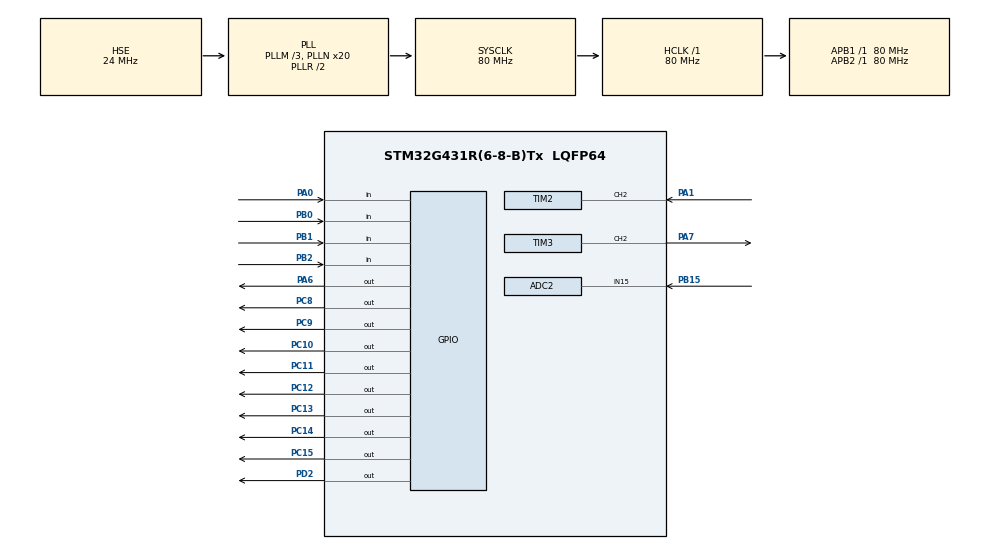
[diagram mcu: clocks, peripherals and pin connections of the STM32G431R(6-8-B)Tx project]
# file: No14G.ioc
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ADC2.Channel-1\#ChannelRegularConversion=ADC_CHANNEL_15
ADC2.NbrOfConversionFlag=1
ADC2.OffsetNumber-1\#ChannelRegularConversion=ADC_OFFSET_NONE
ADC2.Rank-1\#ChannelRegularConversion=1
ADC2.SamplingTime-1\#ChannelRegularConversion=ADC_SAMPLETIME_640CYCLES_5
Mcu.Family=STM32G4
Mcu.Name=STM32G431R(6-8-B)Tx
Mcu.Package=LQFP64
NVIC.PriorityGroup=NVIC_PRIORITYGROUP_4
NVIC.TIM1_TRG_COM_TIM17_IRQn=true\:0\:0\:false\:false\:true\:true\:true\:true
NVIC.TIM2_IRQn=true\:0\:0\:false\:false\:true\:true\:true\:true
NVIC.TIM3_IRQn=true\:0\:0\:false\:false\:true\:true\:true\:true
PA0.GPIO_PuPd=GPIO_PULLUP
PA0.Signal=GPIO_Input
PA1.Signal=S_TIM2_CH2
PA13.Mode=Serial_Wire
PA13.Signal=SYS_JTMS-SWDIO
PA14.Mode=Serial_Wire
PA14.Signal=SYS_JTCK-SWCLK
PA6.Signal=GPIO_Output
PA7.Signal=S_TIM3_CH2
PB0.GPIO_PuPd=GPIO_PULLUP
PB0.Signal=GPIO_Input
PB1.GPIO_PuPd=GPIO_PULLUP
PB1.Signal=GPIO_Input
PB15.Mode=IN15-Single-Ended
PB15.Signal=ADC2_IN15
PB2.GPIO_PuPd=GPIO_PULLUP
PB2.Signal=GPIO_Input
PC10.PinState=GPIO_PIN_SET
PC10.Signal=GPIO_Output
PC11.PinState=GPIO_PIN_SET
PC11.Signal=GPIO_Output
PC12.PinState=GPIO_PIN_SET
PC12.Signal=GPIO_Output
PC13.PinState=GPIO_PIN_SET
PC13.Signal=GPIO_Output
PC14-OSC32_IN.PinState=GPIO_PIN_SET
PC14-OSC32_IN.Signal=GPIO_Output
PC15-OSC32_OUT.PinState=GPIO_PIN_SET
PC15-OSC32_OUT.Signal=GPIO_Output
PC8.PinState=GPIO_PIN_SET
PC8.Signal=GPIO_Output
PC9.PinState=GPIO_PIN_SET
PC9.Signal=GPIO_Output
PD2.Signal=GPIO_Output
PF0-OSC_IN.Mode=HSE-External-Oscillator
PF0-OSC_IN.Signal=RCC_OSC_IN
PF1-OSC_OUT.Mode=HSE-External-Oscillator
PF1-OSC_OUT.Signal=RCC_OSC_OUT
ProjectManager.HeapSize=0x200
ProjectManager.StackSize=0x400
ProjectManager.TargetToolchain=MDK-ARM V5.32
RCC.ADC12Freq_Value=80000000
RCC.AHBFreq_Value=80000000
RCC.APB1Freq_Value=80000000
RCC.APB1TimFreq_Value=80000000
RCC.APB2Freq_Value=80000000
RCC.APB2TimFreq_Value=80000000
RCC.CortexFreq_Value=80000000
RCC.EXTERNAL_CLOCK_VALUE=12288000
RCC.HCLKFreq_Value=80000000
RCC.HSE_VALUE=24000000
RCC.HSI48_VALUE=48000000
RCC.HSI_VALUE=16000000
RCC.LSE_VALUE=32768
RCC.PLLM=RCC_PLLM_DIV3
RCC.PLLN=20
RCC.PLLSourceVirtual=RCC_PLLSOURCE_HSE
RCC.SYSCLKFreq_VALUE=80000000
RCC.SYSCLKSource=RCC_SYSCLKSOURCE_PLLCLK
RCC.USBFreq_Value=80000000
RCC.VCOOutputFreq_Value=160000000
SH.S_TIM2_CH2.0=TIM2_CH2,Input_Capture2_from_TI2
SH.S_TIM3_CH2.0=TIM3_CH2,PWM Generation2 CH2
TIM17.PeriodNoDither=10000-1
TIM17.Prescaler=80-1
TIM2.Channel-Input_Capture1_from_TI2_63=TIM_CHANNEL_1
TIM2.Channel-Input_Capture2_from_TI2=TIM_CHANNEL_2
TIM2.ICPolarity_CH1=TIM_INPUTCHANNELPOLARITY_FALLING
TIM2.Prescaler=80-1
TIM3.Channel-PWM\ Generation2\ CH2=TIM_CHANNEL_2
TIM3.PeriodNoDither=100-1
TIM3.Prescaler=80-1
TIM3.PulseNoDither_2=50-1
VP_SYS_VS_DBSignals.Mode=DisableDeadBatterySignals
VP_TIM17_VS_ClockSourceINT.Mode=Enable_Timer
VP_TIM2_VS_ClockSourceINT.Mode=Internal
VP_TIM2_VS_indirect_ch2.Mode=Input_Capture1_from_TI2_63
VP_TIM3_VS_ClockSourceINT.Mode=Internal
board=custom

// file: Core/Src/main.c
/* USER CODE BEGIN Header */
/**
  ******************************************************************************
  * @file           : main.c
  * @brief          : Main program body
  ******************************************************************************
  * @attention
  *
  * Copyright (c) 2024 STMicroelectronics.
  * All rights reserved.
  *
  * This software is licensed under terms that can be found in the LICENSE file
  * in the root directory of this software component.
  * If no LICENSE file comes with this software, it is provided AS-IS.
  *
  ******************************************************************************
  */
/* USER CODE END Header */
#include "main.h"
#include "adc.h"
#include "tim.h"
#include "gpio.h"

/* USER CODE BEGIN Includes */
#include "mymain.h"

/* USER CODE END Includes */

void SystemClock_Config(void);

/* USER CODE BEGIN 0 */
char text[50];

uint8_t fh_l=0,fh_r,ah_l=0,ah_r,th_l=0,th_r;
uint8_t lcd_flag,key_lock=0,para_swit=0,fset_swit=0,mem_flag=0,reshowF_flag=0,reshowA_flag=0;
uint32_t F,D,FH=2000,TH=30,FN,AN,TN,FP=1,TT=6,FH_use=2000,TH_use=30,FP_use=1,TT_use=6;
float A,T,AH=3.0,VP=0.9,AH_use=3.0,VP_use=0.9;

uint32_t F_data[100],D_data[100];
float A_data[100];

void reset_sta(){
	fh_l=0,fh_r=0,ah_l=0,ah_r=0,th_l=0,th_r=0;
	lcd_flag=0,key_lock=0,para_swit=0,fset_swit=0,mem_flag=0,reshowF_flag=0,reshowA_flag=0;
	F=0,D=0,FH=2000,TH=30,FN=0,AN=0,TN=0,FP=1,TT=6,FH_use=2000,TH_use=30,FP_use=1,TT_use=6;
	A=0,T=0,AH=3.0,VP=0.9,AH_use=3.0,VP_use=0.9;
}

void data_get(){
	F=1000000/ic_tick;
	D=(float)ic_high/(float)ic_tick*100;
	A=adc_read();
	A=adc_read();
	A=adc_read();
	T=ds_read();
}
void lcd_sch(){
	if(lcd_flag==0){
		sprintf(text,"        DATA  ");
		LCD_DisplayStringLine(Line1, (unsigned char *)text);

		sprintf(text,"     F=%d    ",F);
		LCD_DisplayStringLine(Line3, (unsigned char *)text);

		sprintf(text,"     D=%d%%    ",D);
		LCD_DisplayStringLine(Line4, (unsigned char *)text);

		sprintf(text,"     A=%.1f    ",A);
		LCD_DisplayStringLine(Line5, (unsigned char *)text);

		sprintf(text,"     T=%.1f    ",T);
		LCD_DisplayStringLine(Line6, (unsigned char *)text);
	}

	if(lcd_flag==1){
		sprintf(text,"        PARA  ");
		LCD_DisplayStringLine(Line1, (unsigned char *)text);

		sprintf(text,"     FH=%d    ",FH);
		LCD_DisplayStringLine(Line3, (unsigned char *)text);

		sprintf(text,"     AH=%.1f    ",AH);
		LCD_DisplayStringLine(Line4, (unsigned char *)text);

		sprintf(text,"     TH=%d    ",TH);
		LCD_DisplayStringLine(Line5, (unsigned char *)text);
	}

	if(lcd_flag==2){
		sprintf(text,"        RECD  ");
		LCD_DisplayStringLine(Line1, (unsigned char *)text);

		sprintf(text,"     FN=%d    ",FN);
		LCD_DisplayStringLine(Line3, (unsigned char *)text);

		sprintf(text,"     AN=%d    ",AN);
		LCD_DisplayStringLine(Line4, (unsigned char *)text);

		sprintf(text,"     TN=%d    ",TN);
		LCD_DisplayStringLine(Line5, (unsigned char *)text);
	}

	if(lcd_flag==3){
		sprintf(text,"        FSET  ");
		LCD_DisplayStringLine(Line1, (unsigned char *)text);

		sprintf(text,"     FP=%d    ",FP);
		LCD_DisplayStringLine(Line3, (unsigned char *)text);

		sprintf(text,"     VP=%.1f    ",VP);
		LCD_DisplayStringLine(Line4, (unsigned char *)text);

		sprintf(text,"     TT=%d    ",TT);
		LCD_DisplayStringLine(Line5, (unsigned char *)text);
	}
}

void key_handle(){
	if(key_lock==1){
		key[1].flag=key[2].flag=key[3].flag=key[4].flag=0;
	}

	if(key[1].flag==1){
		if(lcd_flag==1){
			FH_use=FH;
			AH_use=AH;
			TH_use=TH;
		}

		if(lcd_flag==3){
			FP_use=FP;
			VP_use=VP;
			TT_use=TT;
		}

		lcd_flag=(lcd_flag+1)%4;
		LCD_Clear(Black);
		if(lcd_flag==1)para_swit=0;
		if(lcd_flag==3)fset_swit=0;

		key[1].flag=0;
	}

	if(key[2].flag==1){
		if(lcd_flag==0){
			//key_lock=1;
			mem_flag=1;
		}

		if(lcd_flag==1){
			para_swit=(para_swit+1)%3;
		}

		if(lcd_flag==2){
			FN=AN=TN=0;
		}

		if(lcd_flag==3){
			fset_swit=(fset_swit+1)%3;
		}

		key[2].flag=0;
	}

	if(key[3].flag==1){
		if(lcd_flag==0){
			reshowA_flag=1;
		}

		if(lcd_flag==1){
			if(para_swit==0)FH+=1000;
			if(para_swit==1)AH+=0.3;
			if(para_swit==2)TH+=1;
		}

		if(lcd_flag==3){
			if(fset_swit==0)FP+=1;
			if(fset_swit==1)VP+=0.3;
			if(fset_swit==2)TT+=2;
		}

		key[3].flag=0;
	}

	if(key[4].flag==1){
		if(lcd_flag==0){
			reshowF_flag=1;
		}

		if(lcd_flag==1){
			if(para_swit==0)FH-=1000;
			if(para_swit==1)AH-=0.3;
			if(para_swit==2)TH-=1;
		}

		if(lcd_flag==3){
			if(fset_swit==0)FP-=1;
			if(fset_swit==1)VP-=0.3;
			if(fset_swit==2)TT-=2;
		}

		key[4].flag=0;
	}

	if(key[3].flag==4&&key[4].flag==4){
		reset_sta();

		key[3].flag=key[4].flag=0;
	}
}

void recd_handle(){

	//FH
	if(F>FH_use)fh_r=1;
	else fh_r=0;

	if(fh_l==0&&fh_r==1)FN++;

	fh_l=fh_r;

	//AH
	if(A>AH_use)ah_r=1;
	else ah_r=0;

	if(ah_l==0&&ah_r==1)AN++;

	ah_l=ah_r;

	//TH
	if(T>TH_use)th_r=1;
	else th_r=0;

	if(th_l==0&&th_r==1)TN++;

	th_l=th_r;
}

void data_mem(){
	if(mem_flag==1){
		uint8_t tick_l=1,tick_r=0,mem_p=0;
		while(1){

			data_get();
			led_handle();
			lcd_sch();
			recd_handle();
			key[1].flag=key[2].flag=key[3].flag=key[4].flag=0;

			if(uwTick%100>50)tick_r=1;
			else tick_r=0;

			if(tick_l==0&&tick_r==1){
				F_data[mem_p]=F;
				D_data[mem_p]=D;
				A_data[mem_p]=A;
				mem_p++;
			}

			tick_l=tick_r;

			if(mem_p>=TT_use*10){
				mem_flag=0;
				break;
			}
		}
	}
}

void data_reshow(){
	if(reshowF_flag==1){
		uint8_t tick_l=1,tick_r=0,mem_p=0;
		while(1){

			data_get();
			led_handle();
			lcd_sch();
			key_handle();
			mem_flag=0;
			recd_handle();

			if(uwTick%100>50)tick_r=1;
			else tick_r=0;

			if(tick_l==0&&tick_r==1){
				oc_set(F_data[mem_p]/FP_use,D_data[mem_p]);
				mem_p++;
			}

			tick_l=tick_r;

			if(mem_p>=TT_use*10){
				reshowF_flag=0;
				oc_set(10000,1);
				break;
			}
		}
	}

	if(reshowA_flag==1){
		uint8_t tick_l=1,tick_r=0,mem_p=0;
		while(1){

			data_get();
			led_handle();
			lcd_sch();
			key_handle();
			mem_flag=0;
			recd_handle();

			if(uwTick%100>50)tick_r=1;
			else tick_r=0;

			if(tick_l==0&&tick_r==1){
				uint32_t dut;
				if(A_data[mem_p]<VP_use)dut=10;
				else if(A_data[mem_p]>3.3)dut=100;
				else dut=((float)90/(3.3-VP_use))*A_data[mem_p]+(100.f-297.f/(3.3-VP_use));

				oc_set(1000,dut+2);
				mem_p++;
			}

			tick_l=tick_r;

			if(mem_p>=TT_use*10){
				reshowA_flag=0;
				oc_set(10000,1);
				break;
			}
		}
	}
}

uint8_t memtick_l,memtick_r,ocF_l,ocF_r,ocA_l,ocA_r;
void led_handle(){

	if(mem_flag==1){
			if(uwTick%100>50)memtick_r=1;
			else memtick_r=0;

			if(memtick_l==0&&memtick_r==1){
				led_sta^=(0x1<<1);
			}

			memtick_l=memtick_r;
		}else led_sta &= ~(0x1<<1) ;

		if(reshowF_flag==1){
			if(uwTick%100>50)ocF_r=1;
			else ocF_r=0;

			if(ocF_l==0&&ocF_r==1){
				led_sta^=(0x1<<2);
			}

			ocF_l=ocF_r;
		}else led_sta &= ~(0x1<<2) ;

		if(reshowA_flag==1){
			if(uwTick%100>50)ocA_r=1;
			else ocA_r=0;

			if(ocA_l==0&&ocA_r==1){
				led_sta^=(0x1<<3);
			}

			ocA_l=ocA_r;
		}else led_sta &= ~(0x1<<3) ;

		if(F>FH_use)led_sta |= (0x1<<4) ;
		else led_sta &= ~(0x1<<4) ;

		if(A>AH_use)led_sta |= (0x1<<5) ;
		else led_sta &= ~(0x1<<5) ;

		if(T>TH_use)led_sta |= (0x1<<6) ;
		else led_sta &= ~(0x1<<6) ;

		led_set();

}

/* USER CODE END 0 */

int main(void)
{

  /* MCU Configuration--------------------------------------------------------*/

  /* Reset of all peripherals, Initializes the Flash interface and the Systick. */
  HAL_Init();

  /* Configure the system clock */
  SystemClock_Config();

  /* Initialize all configured peripherals */
  MX_GPIO_Init();
  MX_ADC2_Init();
  MX_TIM2_Init();
  MX_TIM3_Init();
  MX_TIM17_Init();
  /* USER CODE BEGIN 2 */

	//lcd
	LCD_Init();

	LCD_Clear(Black);
	LCD_SetBackColor(Black);
	LCD_SetTextColor(White);

//	LCD_DisplayStringLine(Line4, (unsigned char *)"    Hello,world.   ");

	//led
	led_sta=0x00;
	led_set();

	//key
	HAL_TIM_Base_Start_IT(&htim17);

	//ds18b20
	ds18b20_init_x();

	//ic
	HAL_TIM_Base_Start_IT(&htim2);
	HAL_TIM_IC_Start_IT(&htim2,TIM_CHANNEL_2);
	HAL_TIM_IC_Start_IT(&htim2,TIM_CHANNEL_1);

	HAL_TIM_IC_Start(&htim2,TIM_CHANNEL_2);
	HAL_TIM_IC_Start(&htim2,TIM_CHANNEL_1);

	//oc
	HAL_TIM_Base_Start_IT(&htim3);
	HAL_TIM_PWM_Start(&htim3,TIM_CHANNEL_2);

	//oc_set(3000,0);

	//HAL_Delay(1000);
	data_get();

  /* USER CODE END 2 */

  /* Infinite loop */
  /* USER CODE BEGIN WHILE */
  while (1)
  {

		data_get();
		lcd_sch();
		key_handle();
		data_mem();
		recd_handle();
		led_handle();

		data_reshow();

//
//		sprintf(text,"FN=%d AN=%d TN=%d   ",FN,AN,TN);
//		LCD_DisplayStringLine(Line9, (unsigned char *)text);

//		static int cot=0;
//		for(int i=1;i<=4;i++){
//			if(key[i].flag!=0){
//				cot++;
//				sprintf(text,"key%d is %d    %d",i,key[i].flag,cot);
//				LCD_DisplayStringLine(Line4, (unsigned char *)text);
//
//				key[i].flag=0;
//			}
//		}
//

//				sprintf(text,"adc is %.2f",adc_read());
//				LCD_DisplayStringLine(Line4, (unsigned char *)text);
//
//
//				sprintf(text,"ds is %.2f  ",ds_read());
//				LCD_DisplayStringLine(Line5, (unsigned char *)text);
//
//				sprintf(text,"ic frq=%d   ",1000000/ic_tick);
//				LCD_DisplayStringLine(Line6, (unsigned char *)text);
//
//					sprintf(text,"duty=%.2f  ",(float)ic_high/(float)ic_tick);
//				LCD_DisplayStringLine(Line7, (unsigned char *)text);

    /* USER CODE END WHILE */

  }
}

void SystemClock_Config(void)
{
  RCC_OscInitTypeDef RCC_OscInitStruct = {0};
  RCC_ClkInitTypeDef RCC_ClkInitStruct = {0};

  /** Configure the main internal regulator output voltage
  */
  HAL_PWREx_ControlVoltageScaling(PWR_REGULATOR_VOLTAGE_SCALE1);

  /** Initializes the RCC Oscillators according to the specified parameters
  * in the RCC_OscInitTypeDef structure.
  */
  RCC_OscInitStruct.OscillatorType = RCC_OSCILLATORTYPE_HSE;
  RCC_OscInitStruct.HSEState = RCC_HSE_ON;
  RCC_OscInitStruct.PLL.PLLState = RCC_PLL_ON;
  RCC_OscInitStruct.PLL.PLLSource = RCC_PLLSOURCE_HSE;
  RCC_OscInitStruct.PLL.PLLM = RCC_PLLM_DIV3;
  RCC_OscInitStruct.PLL.PLLN = 20;
  RCC_OscInitStruct.PLL.PLLP = RCC_PLLP_DIV2;
  RCC_OscInitStruct.PLL.PLLQ = RCC_PLLQ_DIV2;
  RCC_OscInitStruct.PLL.PLLR = RCC_PLLR_DIV2;
  if (HAL_RCC_OscConfig(&RCC_OscInitStruct) != HAL_OK)
  {
    Error_Handler();
  }

  /** Initializes the CPU, AHB and APB buses clocks
  */
  RCC_ClkInitStruct.ClockType = RCC_CLOCKTYPE_HCLK|RCC_CLOCKTYPE_SYSCLK
                              |RCC_CLOCKTYPE_PCLK1|RCC_CLOCKTYPE_PCLK2;
  RCC_ClkInitStruct.SYSCLKSource = RCC_SYSCLKSOURCE_PLLCLK;
  RCC_ClkInitStruct.AHBCLKDivider = RCC_SYSCLK_DIV1;
  RCC_ClkInitStruct.APB1CLKDivider = RCC_HCLK_DIV1;
  RCC_ClkInitStruct.APB2CLKDivider = RCC_HCLK_DIV1;

  if (HAL_RCC_ClockConfig(&RCC_ClkInitStruct, FLASH_LATENCY_2) != HAL_OK)
  {
    Error_Handler();
  }
}

void Error_Handler(void)
{
  __disable_irq();
  while (1)
  {
  }
}
